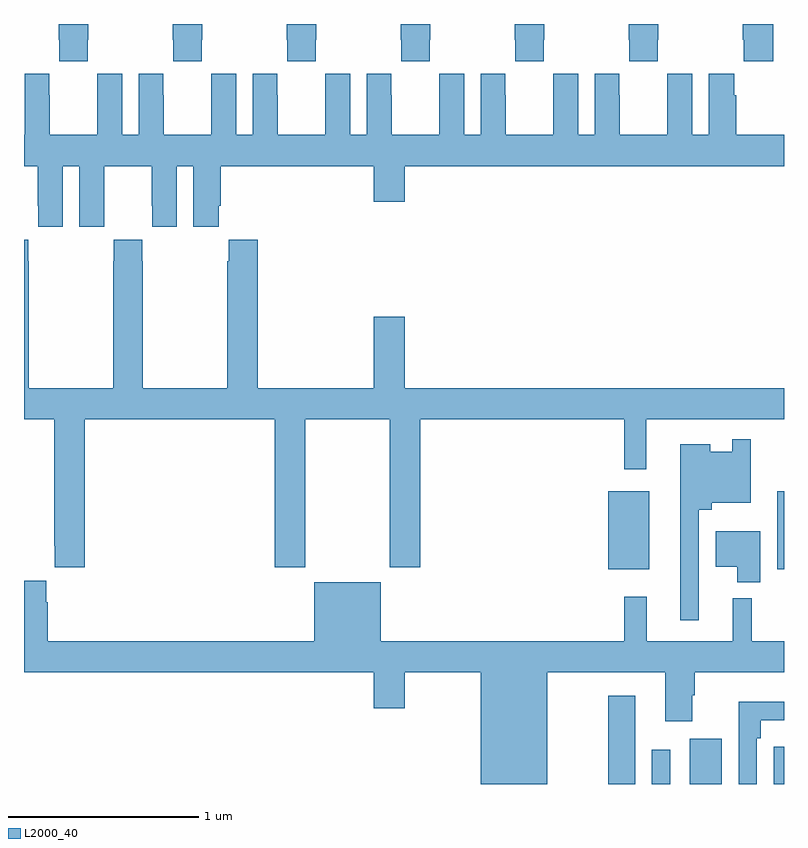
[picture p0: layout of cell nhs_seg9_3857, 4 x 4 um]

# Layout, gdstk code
import gdstk
lib = gdstk.Library(unit=1e-6, precision=1e-09)
def R(c, l, rs):  # rectangles x0, y0, x1, y1
    for r in rs: c.add(gdstk.rectangle(r[:2], r[2:], *l))
def P(c, l, *ps):  # polygons
    for p in ps: c.add(gdstk.Polygon(p, *l))
L2000_40 = (2000, 40)

nhs_seg9_3857 = lib.new_cell('nhs_seg9_3857')
R(nhs_seg9_3857, L2000_40, [(334.075,1194.5,334.216,1194.964), (334.305,1194.5,334.401,1194.679), (334.505,1194.5,334.672,1194.739), (334.946,1194.5,335,1194.697), (334.076,1195.631,334.291,1196.041), (334.964,1195.631,335,1196.041)])
P(nhs_seg9_3857, L2000_40, [(331.935,1198.417),(331.938,1198.417),(331.938,1198.5),(331.783,1198.5),(331.783,1198.417),(331.785,1198.417),(331.785,1198.305),(331.935,1198.305)],
  [(332.535,1198.417),(332.538,1198.417),(332.538,1198.5),(332.383,1198.5),(332.383,1198.417),(332.385,1198.417),(332.385,1198.305),(332.535,1198.305)],
  [(333.135,1198.417),(333.138,1198.417),(333.138,1198.5),(332.983,1198.5),(332.983,1198.417),(332.985,1198.417),(332.985,1198.305),(333.135,1198.305)],
  [(333.735,1198.417),(333.738,1198.417),(333.738,1198.5),(333.583,1198.5),(333.583,1198.417),(333.585,1198.417),(333.585,1198.305),(333.735,1198.305)],
  [(334.335,1198.417),(334.338,1198.417),(334.338,1198.5),(334.183,1198.5),(334.183,1198.417),(334.185,1198.417),(334.185,1198.305),(334.335,1198.305)],
  [(334.943,1198.5),(334.783,1198.5),(334.783,1198.417),(334.789,1198.417),(334.789,1198.305),(334.943,1198.305)],
  [(331.335,1198.417),(331.338,1198.417),(331.338,1198.5),(331.183,1198.5),(331.183,1198.417),(331.185,1198.417),(331.185,1198.305),(331.335,1198.305)],
  [(332.804,1198.237),(332.804,1197.916),(332.716,1197.916),(332.716,1198.237),(332.586,1198.237),(332.586,1198.124),(332.585,1198.124),(332.585,1197.916),(332.335,1197.916),(332.335,1198.124),(332.334,1198.124),(332.334,1198.237),(332.204,1198.237),(332.204,1197.916),(332.116,1197.916),(332.116,1198.237),(331.986,1198.237),(331.986,1198.124),(331.985,1198.124),(331.985,1197.916),(331.735,1197.916),(331.735,1198.124),(331.734,1198.124),(331.734,1198.237),(331.604,1198.237),(331.604,1197.916),(331.516,1197.916),(331.516,1198.237),(331.386,1198.237),(331.386,1198.124),(331.385,1198.124),(331.385,1197.916),(331.135,1197.916),(331.135,1198.124),(331.134,1198.124),(331.134,1198.237),(331.004,1198.237),(331.004,1197.916),(331,1197.916),(331,1197.752),(331.073,1197.752),(331.073,1197.544),(331.074,1197.544),(331.074,1197.432),(331.204,1197.432),(331.204,1197.752),(331.292,1197.752),(331.292,1197.432),(331.422,1197.432),(331.422,1197.544),(331.423,1197.544),(331.423,1197.752),(331.673,1197.752),(331.673,1197.544),(331.674,1197.544),(331.674,1197.432),(331.804,1197.432),(331.804,1197.752),(331.892,1197.752),(331.892,1197.432),(332.026,1197.432),(332.026,1197.544),(332.036,1197.544),(332.036,1197.752),(332.84,1197.752),(332.84,1197.564),(333.004,1197.564),(333.004,1197.752),(335,1197.752),(335,1197.916),(334.748,1197.916),(334.748,1198.124),(334.738,1198.124),(334.738,1198.237),(334.604,1198.237),(334.604,1197.916),(334.516,1197.916),(334.516,1198.237),(334.386,1198.237),(334.386,1198.124),(334.385,1198.124),(334.385,1197.916),(334.135,1197.916),(334.135,1198.124),(334.134,1198.124),(334.134,1198.237),(334.004,1198.237),(334.004,1197.916),(333.916,1197.916),(333.916,1198.237),(333.786,1198.237),(333.786,1198.124),(333.785,1198.124),(333.785,1197.916),(333.535,1197.916),(333.535,1198.124),(333.534,1198.124),(333.534,1198.237),(333.404,1198.237),(333.404,1197.916),(333.316,1197.916),(333.316,1198.237),(333.186,1198.237),(333.186,1198.124),(333.185,1198.124),(333.185,1197.916),(332.935,1197.916),(332.935,1198.124),(332.934,1198.124),(332.934,1198.237)],
  [(331.319,1196.42),(332.321,1196.42),(332.321,1195.641),(332.481,1195.641),(332.481,1196.42),(332.926,1196.42),(332.926,1195.641),(333.086,1195.641),(333.086,1196.42),(334.159,1196.42),(334.159,1196.157),(334.276,1196.157),(334.276,1196.42),(335,1196.42),(335,1196.584),(333.004,1196.584),(333.004,1196.959),(332.84,1196.959),(332.84,1196.584),(332.231,1196.584),(332.231,1197.364),(332.077,1197.364),(332.077,1197.251),(332.071,1197.251),(332.071,1196.584),(331.626,1196.584),(331.626,1197.251),(331.623,1197.251),(331.623,1197.364),(331.473,1197.364),(331.473,1197.251),(331.471,1197.251),(331.471,1196.584),(331.026,1196.584),(331.026,1197.251),(331.023,1197.251),(331.023,1197.364),(331,1197.364),(331,1196.42),(331.159,1196.42),(331.159,1195.753),(331.163,1195.753),(331.163,1195.641),(331.319,1195.641)],
  [(334.551,1195.943),(334.62,1195.943),(334.62,1195.979),(334.824,1195.979),(334.824,1196.314),(334.728,1196.314),(334.728,1196.248),(334.612,1196.248),(334.612,1196.287),(334.454,1196.287),(334.454,1195.362),(334.551,1195.362)],
  [(334.876,1195.831),(334.64,1195.831),(334.64,1195.643),(334.754,1195.643),(334.754,1195.562),(334.876,1195.562)],
  [(333.754,1195.088),(334.376,1195.088),(334.376,1194.831),(334.516,1194.831),(334.516,1194.968),(334.529,1194.968),(334.529,1195.088),(335,1195.088),(335,1195.252),(334.83,1195.252),(334.83,1195.477),(334.73,1195.477),(334.73,1195.252),(334.277,1195.252),(334.277,1195.486),(334.159,1195.486),(334.159,1195.252),(332.878,1195.252),(332.878,1195.561),(332.528,1195.561),(332.528,1195.252),(331.124,1195.252),(331.124,1195.457),(331.117,1195.457),(331.117,1195.57),(331,1195.57),(331,1195.088),(332.84,1195.088),(332.84,1194.9),(333.004,1194.9),(333.004,1195.088),(333.404,1195.088),(333.404,1194.5),(333.754,1194.5)],
  [(334.857,1194.74),(334.877,1194.74),(334.877,1194.836),(335,1194.836),(335,1194.934),(334.761,1194.934),(334.761,1194.5),(334.857,1194.5)])

lib.write_gds('nhs_seg9_3857.gds')
